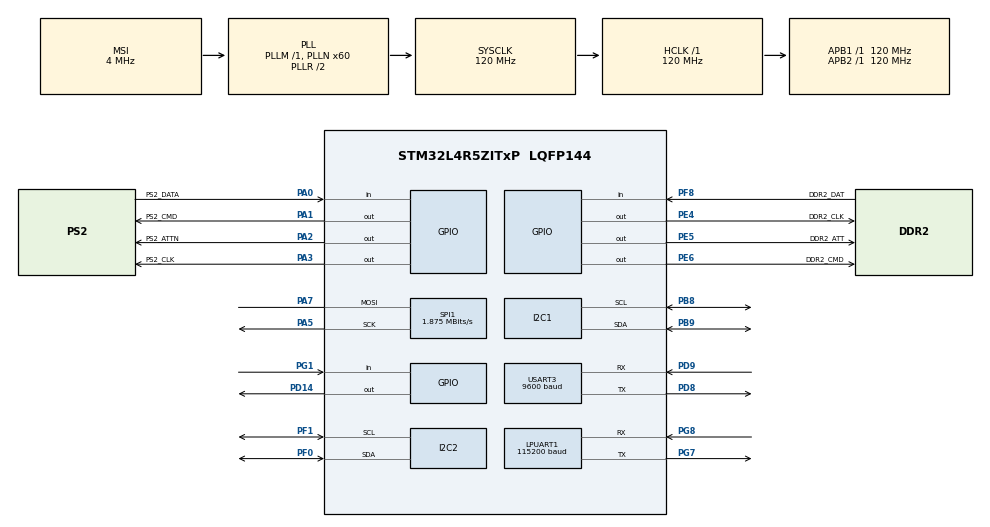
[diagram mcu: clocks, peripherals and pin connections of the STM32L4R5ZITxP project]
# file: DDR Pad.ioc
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I2C1.Timing=0x30A175AB
I2C2.Timing=0x30A175AB
LPUART1.BaudRate=115200
LPUART1.WordLength=UART_WORDLENGTH_8B
Mcu.Family=STM32L4
Mcu.Name=STM32L4R5ZITxP
Mcu.Package=LQFP144
NVIC.PriorityGroup=NVIC_PRIORITYGROUP_4
PA0.GPIO_Label=PS2_DATA
PA0.GPIO_PuPd=GPIO_PULLUP
PA0.Signal=GPIO_Input
PA1.GPIO_Label=PS2_CMD
PA1.GPIO_PuPd=GPIO_NOPULL
PA1.GPIO_Speed=GPIO_SPEED_FREQ_VERY_HIGH
PA1.PinState=GPIO_PIN_SET
PA1.Signal=GPIO_Output
PA10.Signal=USB_OTG_FS_ID
PA13\ (JTMS/SWDIO).Signal=SYS_JTMS-SWDIO
PA14\ (JTCK/SWCLK).Signal=SYS_JTCK-SWCLK
PA2.GPIO_Label=PS2_ATTN
PA2.GPIO_Speed=GPIO_SPEED_FREQ_VERY_HIGH
PA2.PinState=GPIO_PIN_SET
PA2.Signal=GPIO_Output
PA3.GPIO_Label=PS2_CLK
PA3.GPIO_Speed=GPIO_SPEED_FREQ_VERY_HIGH
PA3.PinState=GPIO_PIN_SET
PA3.Signal=GPIO_Output
PA4.Signal=SPI1_NSS
PA5.Mode=Simplex_Bidirectional_Master
PA5.Signal=SPI1_SCK
PA6.Signal=SPI1_MISO
PA7.Mode=Simplex_Bidirectional_Master
PA7.Signal=SPI1_MOSI
PA8.Signal=USB_OTG_FS_SOF
PA9.Signal=USB_OTG_FS_VBUS
PB0.Signal=S_TIM3_CH3
PB1.Signal=ADCx_IN16
PB10.Signal=S_TIM2_CH3
PB12.Signal=SAI2_FS_A
PB13.Signal=SAI2_SCK_A
PB14.Signal=S_TIM15_CH1
PB15.Signal=SAI2_SD_A
PB2.Signal=COMP1_INP
PB3\ (JTDO/TRACESWO).Signal=SPI3_SCK
PB4\ (NJTRST).Signal=SPI3_MISO
PB5.Signal=SPI3_MOSI
PB6.Signal=COMP2_INP
PB8.GPIO_Pu=GPIO_PULLUP
PB8.Mode=I2C
PB8.Signal=I2C1_SCL
PB9.GPIO_Pu=GPIO_PULLUP
PB9.Mode=I2C
PB9.Signal=I2C1_SDA
PC0.Signal=ADCx_IN1
PC1.Signal=ADCx_IN2
PC10.Signal=SDMMC1_D2
PC11.Signal=SDMMC1_D3
PC12.Signal=SDMMC1_CK
PC13.Signal=SYS_WKUP2
PC14-OSC32_IN\ (PC14).Signal=RCC_OSC32_IN
PC15-OSC32_OUT\ (PC15).Signal=RCC_OSC32_OUT
PC2.Signal=ADCx_IN3
PC3.Signal=ADCx_IN4
PC4.Signal=ADCx_IN13
PC5.Signal=ADCx_IN14
PC6.Signal=SAI2_MCLK_A
PC7.Signal=S_TIM3_CH2
PC8.Signal=SDMMC1_D0
PC9.Signal=SDMMC1_D1
PD0.Signal=CAN1_RX
PD14.Signal=GPIO_Output
PD15.Signal=S_TIM4_CH4
PD2.Signal=SDMMC1_CMD
PD3.Signal=USART2_CTS
PD4.Signal=USART2_RTS
PD5.Signal=USART2_TX
PD6.Signal=USART2_RX
PD8.Mode=Asynchronous
PD8.Signal=USART3_TX
PD9.Mode=Asynchronous
PD9.Signal=USART3_RX
PE0.Signal=S_TIM4_ETR
PE10.Signal=TIM1_CH2N
PE11.Signal=S_TIM1_CH2
PE12.Signal=TIM1_CH3N
PE13.Signal=S_TIM1_CH3
PE14.Signal=TIM1_BKIN2
PE15.Signal=TIM1_BKIN
PE2.Signal=SAI1_MCLK_A
PE3.Signal=SAI1_SD_B
PE4.GPIO_Label=DDR2_CLK
PE4.GPIO_PuPd=GPIO_NOPULL
PE4.GPIO_Speed=GPIO_SPEED_FREQ_HIGH
PE4.PinState=GPIO_PIN_SET
PE4.Signal=GPIO_Output
PE5.GPIO_Label=DDR2_ATT
PE5.GPIO_Speed=GPIO_SPEED_FREQ_HIGH
PE5.PinState=GPIO_PIN_SET
PE5.Signal=GPIO_Output
PE6.GPIO_Label=DDR2_CMD
PE6.GPIO_ModeDefaultOutputPP=GPIO_MODE_OUTPUT_PP
PE6.GPIO_Speed=GPIO_SPEED_FREQ_HIGH
PE6.PinState=GPIO_PIN_SET
PE6.Signal=GPIO_Output
PE7.Signal=S_TIM1_ETR
PE8.Signal=TIM1_CH1N
PE9.Signal=S_TIM1_CH1
PF0.Mode=I2C
PF0.Signal=I2C2_SDA
PF1.Mode=I2C
PF1.Signal=I2C2_SCL
PF2.Signal=I2C2_SMBA
PF7.Signal=SAI1_MCLK_B
PF8.GPIO_Label=DDR2_DAT
PF8.GPIO_PuPd=GPIO_PULLUP
PF8.Signal=GPIO_Input
PG1.GPIO_PuPd=GPIO_PULLUP
PG1.Signal=GPIO_Input
PG7.Mode=Asynchronous
PG7.Signal=LPUART1_TX
PG8.Mode=Asynchronous
PG8.Signal=LPUART1_RX
PH0-OSC_IN\ (PH0).Signal=RCC_OSC_IN
PH1-OSC_OUT\ (PH1).Signal=RCC_OSC_OUT
ProjectManager.HeapSize=0x200
ProjectManager.StackSize=0x400
ProjectManager.TargetToolchain=STM32CubeIDE
RCC.AHBFreq_Value=120000000
RCC.APB1Freq_Value=120000000
RCC.APB1TimFreq_Value=120000000
RCC.APB2Freq_Value=120000000
RCC.APB2TimFreq_Value=120000000
RCC.CortexFreq_Value=120000000
RCC.HCLKFreq_Value=120000000
RCC.HSE_VALUE=8000000
RCC.HSI48_VALUE=48000000
RCC.HSI_VALUE=16000000
RCC.LSE_VALUE=32768
RCC.MSI_VALUE=4000000
RCC.PLLN=60
RCC.SYSCLKFreq_VALUE=120000000
RCC.SYSCLKSource=RCC_SYSCLKSOURCE_PLLCLK
RCC.VCOOutputFreq_Value=240000000
SH.ADCx_IN1.0=ADC1_IN1
SH.ADCx_IN13.0=ADC1_IN13
SH.ADCx_IN14.0=ADC1_IN14
SH.ADCx_IN16.0=ADC1_IN16
SH.ADCx_IN2.0=ADC1_IN2
SH.ADCx_IN3.0=ADC1_IN3
SH.ADCx_IN4.0=ADC1_IN4
SH.S_TIM15_CH1.0=TIM15_CH1
SH.S_TIM1_CH1.0=TIM1_CH1
SH.S_TIM1_CH2.0=TIM1_CH2
SH.S_TIM1_CH3.0=TIM1_CH3
SH.S_TIM1_ETR.0=TIM1_ETR
SH.S_TIM2_CH3.0=TIM2_CH3
SH.S_TIM3_CH2.0=TIM3_CH2
SH.S_TIM3_CH3.0=TIM3_CH3
SH.S_TIM4_CH4.0=TIM4_CH4
SH.S_TIM4_ETR.0=TIM4_ETR
SPI1.BaudRatePrescaler=SPI_BAUDRATEPRESCALER_64
SPI1.CalculateBaudRate=1.875 MBits/s
SPI1.DataSize=SPI_DATASIZE_8BIT
SPI1.Direction=SPI_DIRECTION_1LINE
SPI1.Mode=SPI_MODE_MASTER
SPI1.VirtualType=VM_MASTER
USART3.BaudRate=9600
USART3.VirtualMode-Asynchronous=VM_ASYNC
board=NUCLEO-L4R5ZI-P

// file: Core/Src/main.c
/* USER CODE BEGIN Header */
/**
  ******************************************************************************
  * @file           : main.c
  * @brief          : Main program body
  ******************************************************************************
  * @attention
  *
  * Copyright (c) 2026 STMicroelectronics.
  * All rights reserved.
  *
  * This software is licensed under terms that can be found in the LICENSE file
  * in the root directory of this software component.
  * If no LICENSE file comes with this software, it is provided AS-IS.
  *
  ******************************************************************************
  */
/* USER CODE END Header */
#include "main.h"
/* USER CODE BEGIN Includes */
#include <stdio.h>
#include <stdlib.h>
#include <string.h>
#include <math.h>
#include <stdbool.h>
#include <stdint.h>

#include "lcd.h"
#include "lcd_touch_demo.h"
#include "game_types.h"
#include "collision.h"
#include "game_init.h"
#include "game_update.h"
#include "paddle_shuttle.h"
#include "scoring.h"
#include "spi.h"
#include "wii_nunchuk.h"
#include "ddr_pad.h"

/* USER CODE END Includes */

/* USER CODE BEGIN PD */
#define PS2_DATA_PIN  PS2_DATA_Pin
#define PS2_DATA_PORT PS2_DATA_GPIO_Port
#define PS2_CMD_PIN   PS2_CMD_Pin
#define PS2_CMD_PORT  PS2_CMD_GPIO_Port
#define PS2_ATTN_PIN  PS2_ATTN_Pin
#define PS2_ATTN_PORT PS2_ATTN_GPIO_Port
#define PS2_CLK_PIN   PS2_CLK_Pin
#define PS2_CLK_PORT  PS2_CLK_GPIO_Port

// Wii Nunchuk 的 I2C 7位地址是 0x52
// STM32 的 HAL 库要求左移 1 位 (8位地址)，所以 0x52 << 1 = 0xA4
//#define NUNCHUK_ADDR 0xA4
// 存储按键数据的数组
uint8_t ps2_data[6];
uint8_t player2_data[6];
/* USER CODE END PD */

I2C_HandleTypeDef hi2c1;
I2C_HandleTypeDef hi2c2;

UART_HandleTypeDef hlpuart1;
UART_HandleTypeDef huart3;

SPI_HandleTypeDef hspi1;

/* USER CODE BEGIN PV */
uint8_t nunchuk_data1[6]; // 存放读回来的 6 个字节
uint8_t nunchuk_data2[6]; // 存放读回来的 6 个字节
/* USER CODE END PV */

void SystemClock_Config(void);
static void MX_GPIO_Init(void);
static void MX_LPUART1_UART_Init(void);
static void MX_I2C1_Init(void);
static void MX_USART3_UART_Init(void);
static void MX_SPI1_Init(void);
static void MX_I2C2_Init(void);

/* USER CODE BEGIN 0 */

void MP3_Play_Folder_File(uint8_t folder, uint8_t file)
{
    uint8_t cmd[8] = {0x7E, 0xFF, 0x06, 0x0F, 0x00, folder, file, 0xEF};

    // 使用 USART3 发送这 8 个字节
    // 注意：如果你的串口不是 huart3，请把下面的 huart3 改成对应的名字 (如 huart4)
    HAL_UART_Transmit(&huart3, cmd, 8, HAL_MAX_DELAY);
}

void DWT_Init(void) {
    CoreDebug->DEMCR |= CoreDebug_DEMCR_TRCENA_Msk;
    DWT->CYCCNT = 0;
    DWT->CTRL |= DWT_CTRL_CYCCNTENA_Msk;
}

/* USER CODE END 0 */

#if 0
int main(void){
	/* 初始化完 GPIO/UART/I2C/SPI1 之后，再加 LCD */
	if (LCD_Board_InitRecommendedSPI3() != HAL_OK) {
	    Error_Handler();
	}

	/* 二选一：看你实际屏幕型号 */
	LCD_Board_FillST7789_240x240(&lcd);
	// LCD_Board_FillILI9341_240x320(&lcd);

	if (LCD_InitBus(&lcd) != HAL_OK) {
	    Error_Handler();
	}

	/* 二选一：跟上面的型号对应 */
	if (LCD_RunInitSequence(&lcd,
	                        LCD_ST7789_240x240_Init,
	                        LCD_ST7789_240x240_InitCount) != HAL_OK) {
	    Error_Handler();
	}

	/* 开背光 */
	LCD_SetBacklight(&lcd, GPIO_PIN_SET);

	/* 先整屏填个颜色测试 */
	if (LCD_FillColor565(&lcd, 0xF800) != HAL_OK) {   // 红色
	    Error_Handler();
	}
	HAL_Delay(500);

	LCD_FillColor565(&lcd, 0x07E0);   // 绿色
	HAL_Delay(500);

	LCD_FillColor565(&lcd, 0x001F);   // 蓝色
	HAL_Delay(500);

	LCD_FillColor565(&lcd, 0xFFFF);   // 白色

}
#endif

int main(void)
{
  HAL_Init();
  SystemClock_Config();

  MX_GPIO_Init();
  MX_LPUART1_UART_Init();
  MX_I2C1_Init();
  MX_USART3_UART_Init();
  MX_SPI1_Init();
  MX_I2C2_Init();

  if (LCD_Board_Init() != HAL_OK) {
      Error_Handler();
  }

  if (LCD_Touch_ColorDemo_Run() != HAL_OK) {
      Error_Handler();
  }
}
//int main(void)
//{
//
//  /* USER CODE BEGIN 1 */
//
//  /* USER CODE END 1 */
//
//  /* MCU Configuration--------------------------------------------------------*/
//
//  /* Reset of all peripherals, Initializes the Flash interface and the Systick. */
//
//  HAL_Init();
//
//  /* USER CODE BEGIN Init */
//
//  /* USER CODE END Init */
//
//  /* Configure the system clock */
//  SystemClock_Config();
//
//  /* USER CODE BEGIN SysInit */
//
//  /* USER CODE END SysInit */
//
//  /* Initialize all configured peripherals */
//  MX_GPIO_Init();
//  MX_LPUART1_UART_Init();
//  MX_I2C1_Init();
//  MX_USART3_UART_Init();
//  MX_SPI1_Init();
//  MX_I2C2_Init();
//  /* USER CODE BEGIN 2 */
//  DWT_Init();
//  nunchuk_init();       // 初始化 P1 手柄
//
//
//
//  // 用于保存上一个周期的 Z 轴数据，用来计算瞬间速度差
////  static uint16_t last_acc_z = 712; // 初始值给个大概就行，运行一次后就会自动同步
////
////  static int cooldown_timer = 0;
////
////  // 差值阈值：这决定了你需要多“猛”的发力才能触发。
////  // 因为差值过滤了重力，这个值通常可以设小一点，比如 40 ~ 80
////  const int SWING_THRESHOLD = 60;
////  const int COOLDOWN_CYCLES = 10;
//
//  GameContext ctx;
//  game_init(&ctx);
//
//  bool quit = false;
//
//
//  int i = 0;
//  /* Continuous keyboard state */
//  while (!quit) {
//	  /* ── Event pump ── */
//	  //SDL_Event ev;
//	  /* Reset single-tick swing flags before polling */
////	  MP3_Play_Folder_File(1, 2);
////	  HAL_Delay(5000);
//
//
//
//	  /* ── Fixed timestep tick (mirrors TIM3 16 ms interrupt) ── */
//	  //uint64_t now = SDL_GetTicks();
////	  if (now - last_tick >= TICK_MS) {
////		  last_tick = now;
//
//		  //printf("i : %d\n", i);
//	  if (i % 48 == 0){
//		  ctx.p1.swing = false;
//		  ctx.p2.swing = false;
//	  }
//
//
//	  process_nunchuk_p1(&ctx.p1);
//	  process_nunchuk_p2(&ctx.p2);
//
//
//	  process_Pad(&ctx.p1);
//	  process_Pad_P2(&ctx.p2);
//
//	  game_update(&ctx);
//
//	  i++;
//
//	  PlayerData p1_data = {.x = (uint16_t)ctx.p1.x, .y= (uint16_t)ctx.p1.y, .swing = ctx.p1.swing};
//	  PlayerData p2_data = {.x = (uint16_t)ctx.p2.x, .y = (uint16_t)ctx.p2.y, .swing = ctx.p2.swing};
//	  ShuttlecockData shuttle_data = {.x = (uint16_t)ctx.shuttle.x, .y = (uint16_t)ctx.shuttle.y};
//
////	  if (j % 30 == 0){
////		  ctx.p1.x = 40;
////	  }
////	  else{
////		  ctx.p1.x += 5;
////	  }
////	  j++;
//
//      SPI_SendGameState(p1_data, p2_data, shuttle_data);
//
////	  HAL_StatusTypeDef spi_status;
////	  uint8_t txData[4] = {0x44, 0xBB, 0xCC, 0xDD};
////	  HAL_GPIO_WritePin(GPIOD, GPIO_PIN_14, GPIO_PIN_RESET);
////	  spi_status = HAL_SPI_Transmit(&hspi1, txData, 4, HAL_MAX_DELAY);
////	  HAL_GPIO_WritePin(GPIOD, GPIO_PIN_14, GPIO_PIN_SET);
////		if (spi_status == HAL_OK) {
////
////				printf("SPI Tx OK!\r\n");
////			}
////			else {
////				printf("SPI Tx FAILED! Error code: %d\r\n", spi_status);
////
////
////
////
////
////	}
//	  /* ── Render ── */
//	  //render_game(g_renderer, &ctx, mouse_x, mouse_y);
//  }
//  /* USER CODE END 2 */
//
//  /* Infinite loop */
//  /* USER CODE BEGIN WHILE */
////   while (1) {
////
////	  MP3_Play_Folder_File(1, 1);
////	  HAL_Delay(5000);
////	  MP3_Play_Folder_File(1, 2);
////	  HAL_Delay(5000);
////
////     PS2_ReadPad();
////
////     // 逻辑解析：PS2 协议中 0 代表按下，1 代表松开
////     // 我们用取反 (!) 来让 1 代表按下，方便观察
////     uint8_t btn_data1 = ~ps2_data[0];
////
////     uint8_t up    = (btn_data1 >> 4) & 0x01;
////     uint8_t right = (btn_data1 >> 5) & 0x01;
////     uint8_t down  = (btn_data1 >> 6) & 0x01;
////     uint8_t left  = (btn_data1 >> 7) & 0x01;
////     uint8_t start = (btn_data1 >> 3) & 0x01;
////
////     // 调试打印 (如果你开了串口)
////      printf("U:%d D:%d L:%d R:%d ST:%d\r\n", up, down, left, right, start);
////
////     HAL_Delay(16); // 约 60Hz 的刷新率，足够跳舞机使用了
////
////
////
////
////
////
////
////
////
////     //Wii Start
////     Nunchuk_Read();
////
////             // 解析基础数据
////             uint16_t accel_z = (nunchuk_data[4] << 2) | ((nunchuk_data[5] >> 6) & 0x03);
////
////             // ---------------------------------------------------------
////             // 3. 动作识别 (瞬间速度差 Delta)
////             // ---------------------------------------------------------
////             // 计算当前时刻与上一个时刻的差值 (极其关键：这是动态加速度，去除了重力影响)
////             int16_t dz = accel_z - last_acc_z;
////             int16_t abs_dz = abs(dz);
////
////             if (cooldown_timer > 0) {
////                 cooldown_timer--;
////                 if (cooldown_timer == 0) {
////                     sprintf(current_action, "Still");
////                 }
////             }
////             else {
////                 // 只有瞬间的变化量极大，才认为是挥动
////                 if (abs_dz > SWING_THRESHOLD) {
////
////                     if (dz > SWING_THRESHOLD) {
////                         sprintf(current_action, "Moving up");
////                         cooldown_timer = COOLDOWN_CYCLES;
////                     }
////                     else if (dz < -SWING_THRESHOLD) {
////                         sprintf(current_action, "Moving down");
////                         cooldown_timer = COOLDOWN_CYCLES;
////                     }
////                 }
////             }
////
////             // 必须更新：把现在的状态变成“过去”，给下一次循环使用
////             last_acc_z = accel_z;
////
////             // 4. 打印输出
////             printf("dz:%5d | Action: %s \r\n", dz, current_action);
////
////             HAL_Delay(50);
////   }
//    /* USER CODE END WHILE */
//
//    /* USER CODE BEGIN 3 */
//
//  /* USER CODE END 3 */
//}

void SystemClock_Config(void)
{
  RCC_OscInitTypeDef RCC_OscInitStruct = {0};
  RCC_ClkInitTypeDef RCC_ClkInitStruct = {0};

  /** Configure the main internal regulator output voltage
  */
  if (HAL_PWREx_ControlVoltageScaling(PWR_REGULATOR_VOLTAGE_SCALE1_BOOST) != HAL_OK)
  {
    Error_Handler();
  }

  /** Initializes the RCC Oscillators according to the specified parameters
  * in the RCC_OscInitTypeDef structure.
  */
  RCC_OscInitStruct.OscillatorType = RCC_OSCILLATORTYPE_MSI;
  RCC_OscInitStruct.MSIState = RCC_MSI_ON;
  RCC_OscInitStruct.MSICalibrationValue = 0;
  RCC_OscInitStruct.MSIClockRange = RCC_MSIRANGE_6;
  RCC_OscInitStruct.PLL.PLLState = RCC_PLL_ON;
  RCC_OscInitStruct.PLL.PLLSource = RCC_PLLSOURCE_MSI;
  RCC_OscInitStruct.PLL.PLLM = 1;
  RCC_OscInitStruct.PLL.PLLN = 60;
  RCC_OscInitStruct.PLL.PLLP = RCC_PLLP_DIV2;
  RCC_OscInitStruct.PLL.PLLQ = RCC_PLLQ_DIV2;
  RCC_OscInitStruct.PLL.PLLR = RCC_PLLR_DIV2;
  if (HAL_RCC_OscConfig(&RCC_OscInitStruct) != HAL_OK)
  {
    Error_Handler();
  }

  /** Initializes the CPU, AHB and APB buses clocks
  */
  RCC_ClkInitStruct.ClockType = RCC_CLOCKTYPE_HCLK|RCC_CLOCKTYPE_SYSCLK
                              |RCC_CLOCKTYPE_PCLK1|RCC_CLOCKTYPE_PCLK2;
  RCC_ClkInitStruct.SYSCLKSource = RCC_SYSCLKSOURCE_PLLCLK;
  RCC_ClkInitStruct.AHBCLKDivider = RCC_SYSCLK_DIV1;
  RCC_ClkInitStruct.APB1CLKDivider = RCC_HCLK_DIV1;
  RCC_ClkInitStruct.APB2CLKDivider = RCC_HCLK_DIV1;

  if (HAL_RCC_ClockConfig(&RCC_ClkInitStruct, FLASH_LATENCY_5) != HAL_OK)
  {
    Error_Handler();
  }
}

static void MX_I2C1_Init(void)
{

  hi2c1.Instance = I2C1;
  hi2c1.Init.Timing = 0x30A175AB;
  hi2c1.Init.OwnAddress1 = 0;
  hi2c1.Init.AddressingMode = I2C_ADDRESSINGMODE_7BIT;
  hi2c1.Init.DualAddressMode = I2C_DUALADDRESS_DISABLE;
  hi2c1.Init.OwnAddress2 = 0;
  hi2c1.Init.OwnAddress2Masks = I2C_OA2_NOMASK;
  hi2c1.Init.GeneralCallMode = I2C_GENERALCALL_DISABLE;
  hi2c1.Init.NoStretchMode = I2C_NOSTRETCH_DISABLE;
  if (HAL_I2C_Init(&hi2c1) != HAL_OK)
  {
    Error_Handler();
  }

  /** Configure Analogue filter
  */
  if (HAL_I2CEx_ConfigAnalogFilter(&hi2c1, I2C_ANALOGFILTER_ENABLE) != HAL_OK)
  {
    Error_Handler();
  }

  /** Configure Digital filter
  */
  if (HAL_I2CEx_ConfigDigitalFilter(&hi2c1, 0) != HAL_OK)
  {
    Error_Handler();
  }
  /* USER CODE BEGIN I2C1_Init 2 */
  // 1. 初始化第二块跳舞毯的 DAT 引脚 (PF8 - 输入上拉)
  GPIO_InitTypeDef GPIO_InitStruct = {0};
  GPIO_InitStruct.Pin = GPIO_PIN_8;
  GPIO_InitStruct.Mode = GPIO_MODE_INPUT;
  GPIO_InitStruct.Pull = GPIO_PULLUP; // 极其重要：必须上拉
  HAL_GPIO_Init(GPIOF, &GPIO_InitStruct);

  // 2. 初始化第二块跳舞毯的 CLK, ATTN, CMD 引脚 (PE4, PE5, PE6 - 推挽输出)
  GPIO_InitStruct.Pin = GPIO_PIN_4 | GPIO_PIN_5 | GPIO_PIN_6;
  GPIO_InitStruct.Mode = GPIO_MODE_OUTPUT_PP;
  GPIO_InitStruct.Pull = GPIO_NOPULL;
  GPIO_InitStruct.Speed = GPIO_SPEED_FREQ_VERY_HIGH; // 速度拉满
  HAL_GPIO_Init(GPIOE, &GPIO_InitStruct);

  // 3. 默认把 ATTN (PE5) 和 CMD, CLK 拉高，处于空闲状态
  HAL_GPIO_WritePin(GPIOE, GPIO_PIN_4 | GPIO_PIN_5 | GPIO_PIN_6, GPIO_PIN_SET);

  /* USER CODE END I2C1_Init 2 */

}

static void MX_I2C2_Init(void)
{

  hi2c2.Instance = I2C2;
  hi2c2.Init.Timing = 0x30A175AB;
  hi2c2.Init.OwnAddress1 = 0;
  hi2c2.Init.AddressingMode = I2C_ADDRESSINGMODE_7BIT;
  hi2c2.Init.DualAddressMode = I2C_DUALADDRESS_DISABLE;
  hi2c2.Init.OwnAddress2 = 0;
  hi2c2.Init.OwnAddress2Masks = I2C_OA2_NOMASK;
  hi2c2.Init.GeneralCallMode = I2C_GENERALCALL_DISABLE;
  hi2c2.Init.NoStretchMode = I2C_NOSTRETCH_DISABLE;
  if (HAL_I2C_Init(&hi2c2) != HAL_OK)
  {
    Error_Handler();
  }

  /** Configure Analogue filter
  */
  if (HAL_I2CEx_ConfigAnalogFilter(&hi2c2, I2C_ANALOGFILTER_ENABLE) != HAL_OK)
  {
    Error_Handler();
  }

  /** Configure Digital filter
  */
  if (HAL_I2CEx_ConfigDigitalFilter(&hi2c2, 0) != HAL_OK)
  {
    Error_Handler();
  }

}

static void MX_LPUART1_UART_Init(void)
{

  hlpuart1.Instance = LPUART1;
  hlpuart1.Init.BaudRate = 115200;
  hlpuart1.Init.WordLength = UART_WORDLENGTH_8B;
  hlpuart1.Init.StopBits = UART_STOPBITS_1;
  hlpuart1.Init.Parity = UART_PARITY_NONE;
  hlpuart1.Init.Mode = UART_MODE_TX_RX;
  hlpuart1.Init.HwFlowCtl = UART_HWCONTROL_NONE;
  hlpuart1.Init.OneBitSampling = UART_ONE_BIT_SAMPLE_DISABLE;
  hlpuart1.Init.ClockPrescaler = UART_PRESCALER_DIV1;
  hlpuart1.AdvancedInit.AdvFeatureInit = UART_ADVFEATURE_NO_INIT;
  hlpuart1.FifoMode = UART_FIFOMODE_DISABLE;
  if (HAL_UART_Init(&hlpuart1) != HAL_OK)
  {
    Error_Handler();
  }
  if (HAL_UARTEx_SetTxFifoThreshold(&hlpuart1, UART_TXFIFO_THRESHOLD_1_8) != HAL_OK)
  {
    Error_Handler();
  }
  if (HAL_UARTEx_SetRxFifoThreshold(&hlpuart1, UART_RXFIFO_THRESHOLD_1_8) != HAL_OK)
  {
    Error_Handler();
  }
  if (HAL_UARTEx_DisableFifoMode(&hlpuart1) != HAL_OK)
  {
    Error_Handler();
  }

}

static void MX_USART3_UART_Init(void)
{

  huart3.Instance = USART3;
  huart3.Init.BaudRate = 9600;
  huart3.Init.WordLength = UART_WORDLENGTH_8B;
  huart3.Init.StopBits = UART_STOPBITS_1;
  huart3.Init.Parity = UART_PARITY_NONE;
  huart3.Init.Mode = UART_MODE_TX_RX;
  huart3.Init.HwFlowCtl = UART_HWCONTROL_NONE;
  huart3.Init.OverSampling = UART_OVERSAMPLING_16;
  huart3.Init.OneBitSampling = UART_ONE_BIT_SAMPLE_DISABLE;
  huart3.Init.ClockPrescaler = UART_PRESCALER_DIV1;
  huart3.AdvancedInit.AdvFeatureInit = UART_ADVFEATURE_NO_INIT;
  if (HAL_UART_Init(&huart3) != HAL_OK)
  {
    Error_Handler();
  }
  if (HAL_UARTEx_SetTxFifoThreshold(&huart3, UART_TXFIFO_THRESHOLD_1_8) != HAL_OK)
  {
    Error_Handler();
  }
  if (HAL_UARTEx_SetRxFifoThreshold(&huart3, UART_RXFIFO_THRESHOLD_1_8) != HAL_OK)
  {
    Error_Handler();
  }
  if (HAL_UARTEx_DisableFifoMode(&huart3) != HAL_OK)
  {
    Error_Handler();
  }

}

static void MX_SPI1_Init(void)
{

  /* SPI1 parameter configuration*/
  hspi1.Instance = SPI1;
  hspi1.Init.Mode = SPI_MODE_MASTER;
  hspi1.Init.Direction = SPI_DIRECTION_1LINE;
  hspi1.Init.DataSize = SPI_DATASIZE_8BIT;
  hspi1.Init.CLKPolarity = SPI_POLARITY_LOW;
  hspi1.Init.CLKPhase = SPI_PHASE_1EDGE;
  hspi1.Init.NSS = SPI_NSS_SOFT;
  hspi1.Init.BaudRatePrescaler = SPI_BAUDRATEPRESCALER_64;
  hspi1.Init.FirstBit = SPI_FIRSTBIT_MSB;
  hspi1.Init.TIMode = SPI_TIMODE_DISABLE;
  hspi1.Init.CRCCalculation = SPI_CRCCALCULATION_DISABLE;
  hspi1.Init.CRCPolynomial = 7;
  hspi1.Init.CRCLength = SPI_CRC_LENGTH_DATASIZE;
  hspi1.Init.NSSPMode = SPI_NSS_PULSE_ENABLE;
  if (HAL_SPI_Init(&hspi1) != HAL_OK)
  {
    Error_Handler();
  }

}

static void MX_GPIO_Init(void)
{
  GPIO_InitTypeDef GPIO_InitStruct = {0};

  /* GPIO Ports Clock Enable */
  __HAL_RCC_GPIOE_CLK_ENABLE();
  __HAL_RCC_GPIOC_CLK_ENABLE();
  __HAL_RCC_GPIOF_CLK_ENABLE();
  __HAL_RCC_GPIOH_CLK_ENABLE();
  __HAL_RCC_GPIOA_CLK_ENABLE();
  __HAL_RCC_GPIOB_CLK_ENABLE();
  __HAL_RCC_GPIOG_CLK_ENABLE();
  __HAL_RCC_GPIOD_CLK_ENABLE();
  HAL_PWREx_EnableVddIO2();

  /*Configure GPIO pin Output Level */
  HAL_GPIO_WritePin(GPIOE, DDR2_CLK_Pin|DDR2_ATT_Pin|DDR2_CMD_Pin, GPIO_PIN_SET);

  /*Configure GPIO pin Output Level */
  HAL_GPIO_WritePin(GPIOA, PS2_CMD_Pin|PS2_ATTN_Pin|PS2_CLK_Pin, GPIO_PIN_SET);

  /*Configure GPIO pin Output Level */
  HAL_GPIO_WritePin(GPIOD, GPIO_PIN_14, GPIO_PIN_RESET);

  /*Configure GPIO pins : PE2 PE3 */
  GPIO_InitStruct.Pin = GPIO_PIN_2|GPIO_PIN_3;
  GPIO_InitStruct.Mode = GPIO_MODE_AF_PP;
  GPIO_InitStruct.Pull = GPIO_NOPULL;
  GPIO_InitStruct.Speed = GPIO_SPEED_FREQ_LOW;
  GPIO_InitStruct.Alternate = GPIO_AF13_SAI1;
  HAL_GPIO_Init(GPIOE, &GPIO_InitStruct);

  /*Configure GPIO pins : DDR2_CLK_Pin DDR2_ATT_Pin DDR2_CMD_Pin */
  GPIO_InitStruct.Pin = DDR2_CLK_Pin|DDR2_ATT_Pin|DDR2_CMD_Pin;
  GPIO_InitStruct.Mode = GPIO_MODE_OUTPUT_PP;
  GPIO_InitStruct.Pull = GPIO_NOPULL;
  GPIO_InitStruct.Speed = GPIO_SPEED_FREQ_HIGH;
  HAL_GPIO_Init(GPIOE, &GPIO_InitStruct);

  /*Configure GPIO pin : PF7 */
  GPIO_InitStruct.Pin = GPIO_PIN_7;
  GPIO_InitStruct.Mode = GPIO_MODE_AF_PP;
  GPIO_InitStruct.Pull = GPIO_NOPULL;
  GPIO_InitStruct.Speed = GPIO_SPEED_FREQ_LOW;
  GPIO_InitStruct.Alternate = GPIO_AF13_SAI1;
  HAL_GPIO_Init(GPIOF, &GPIO_InitStruct);

  /*Configure GPIO pin : DDR2_DAT_Pin */
  GPIO_InitStruct.Pin = DDR2_DAT_Pin;
  GPIO_InitStruct.Mode = GPIO_MODE_INPUT;
  GPIO_InitStruct.Pull = GPIO_PULLUP;
  HAL_GPIO_Init(DDR2_DAT_GPIO_Port, &GPIO_InitStruct);

  /*Configure GPIO pins : PC0 PC1 PC2 PC3
                           PC4 PC5 */
  GPIO_InitStruct.Pin = GPIO_PIN_0|GPIO_PIN_1|GPIO_PIN_2|GPIO_PIN_3
                          |GPIO_PIN_4|GPIO_PIN_5;
  GPIO_InitStruct.Mode = GPIO_MODE_ANALOG_ADC_CONTROL;
  GPIO_InitStruct.Pull = GPIO_NOPULL;
  HAL_GPIO_Init(GPIOC, &GPIO_InitStruct);

  /*Configure GPIO pin : PS2_DATA_Pin */
  GPIO_InitStruct.Pin = PS2_DATA_Pin;
  GPIO_InitStruct.Mode = GPIO_MODE_INPUT;
  GPIO_InitStruct.Pull = GPIO_PULLUP;
  HAL_GPIO_Init(PS2_DATA_GPIO_Port, &GPIO_InitStruct);

  /*Configure GPIO pins : PS2_CMD_Pin PS2_ATTN_Pin PS2_CLK_Pin */
  GPIO_InitStruct.Pin = PS2_CMD_Pin|PS2_ATTN_Pin|PS2_CLK_Pin;
  GPIO_InitStruct.Mode = GPIO_MODE_OUTPUT_PP;
  GPIO_InitStruct.Pull = GPIO_NOPULL;
  GPIO_InitStruct.Speed = GPIO_SPEED_FREQ_VERY_HIGH;
  HAL_GPIO_Init(GPIOA, &GPIO_InitStruct);

  /*Configure GPIO pin : PB0 */
  GPIO_InitStruct.Pin = GPIO_PIN_0;
  GPIO_InitStruct.Mode = GPIO_MODE_AF_PP;
  GPIO_InitStruct.Pull = GPIO_NOPULL;
  GPIO_InitStruct.Speed = GPIO_SPEED_FREQ_LOW;
  GPIO_InitStruct.Alternate = GPIO_AF2_TIM3;
  HAL_GPIO_Init(GPIOB, &GPIO_InitStruct);

  /*Configure GPIO pin : PB1 */
  GPIO_InitStruct.Pin = GPIO_PIN_1;
  GPIO_InitStruct.Mode = GPIO_MODE_ANALOG_ADC_CONTROL;
  GPIO_InitStruct.Pull = GPIO_NOPULL;
  HAL_GPIO_Init(GPIOB, &GPIO_InitStruct);

  /*Configure GPIO pins : PB2 PB6 */
  GPIO_InitStruct.Pin = GPIO_PIN_2|GPIO_PIN_6;
  GPIO_InitStruct.Mode = GPIO_MODE_ANALOG;
  GPIO_InitStruct.Pull = GPIO_NOPULL;
  HAL_GPIO_Init(GPIOB, &GPIO_InitStruct);

  /*Configure GPIO pin : PG1 */
  GPIO_InitStruct.Pin = GPIO_PIN_1;
  GPIO_InitStruct.Mode = GPIO_MODE_INPUT;
  GPIO_InitStruct.Pull = GPIO_PULLUP;
  HAL_GPIO_Init(GPIOG, &GPIO_InitStruct);

  /*Configure GPIO pins : PE7 PE8 PE9 PE10
                           PE11 PE12 PE13 */
  GPIO_InitStruct.Pin = GPIO_PIN_7|GPIO_PIN_8|GPIO_PIN_9|GPIO_PIN_10
                          |GPIO_PIN_11|GPIO_PIN_12|GPIO_PIN_13;
  GPIO_InitStruct.Mode = GPIO_MODE_AF_PP;
  GPIO_InitStruct.Pull = GPIO_NOPULL;
  GPIO_InitStruct.Speed = GPIO_SPEED_FREQ_LOW;
  GPIO_InitStruct.Alternate = GPIO_AF1_TIM1;
  HAL_GPIO_Init(GPIOE, &GPIO_InitStruct);

  /*Configure GPIO pins : PE14 PE15 */
  GPIO_InitStruct.Pin = GPIO_PIN_14|GPIO_PIN_15;
  GPIO_InitStruct.Mode = GPIO_MODE_AF_PP;
  GPIO_InitStruct.Pull = GPIO_NOPULL;
  GPIO_InitStruct.Speed = GPIO_SPEED_FREQ_LOW;
  GPIO_InitStruct.Alternate = GPIO_AF3_TIM1_COMP1;
  HAL_GPIO_Init(GPIOE, &GPIO_InitStruct);

  /*Configure GPIO pin : PB10 */
  GPIO_InitStruct.Pin = GPIO_PIN_10;
  GPIO_InitStruct.Mode = GPIO_MODE_AF_PP;
  GPIO_InitStruct.Pull = GPIO_NOPULL;
  GPIO_InitStruct.Speed = GPIO_SPEED_FREQ_LOW;
  GPIO_InitStruct.Alternate = GPIO_AF1_TIM2;
  HAL_GPIO_Init(GPIOB, &GPIO_InitStruct);

  /*Configure GPIO pins : PB12 PB13 PB15 */
  GPIO_InitStruct.Pin = GPIO_PIN_12|GPIO_PIN_13|GPIO_PIN_15;
  GPIO_InitStruct.Mode = GPIO_MODE_AF_PP;
  GPIO_InitStruct.Pull = GPIO_NOPULL;
  GPIO_InitStruct.Speed = GPIO_SPEED_FREQ_LOW;
  GPIO_InitStruct.Alternate = GPIO_AF13_SAI2;
  HAL_GPIO_Init(GPIOB, &GPIO_InitStruct);

  /*Configure GPIO pin : PB14 */
  GPIO_InitStruct.Pin = GPIO_PIN_14;
  GPIO_InitStruct.Mode = GPIO_MODE_AF_PP;
  GPIO_InitStruct.Pull = GPIO_NOPULL;
  GPIO_InitStruct.Speed = GPIO_SPEED_FREQ_LOW;
  GPIO_InitStruct.Alternate = GPIO_AF14_TIM15;
  HAL_GPIO_Init(GPIOB, &GPIO_InitStruct);

  /*Configure GPIO pin : PD14 */
  GPIO_InitStruct.Pin = GPIO_PIN_14;
  GPIO_InitStruct.Mode = GPIO_MODE_OUTPUT_PP;
  GPIO_InitStruct.Pull = GPIO_NOPULL;
  GPIO_InitStruct.Speed = GPIO_SPEED_FREQ_LOW;
  HAL_GPIO_Init(GPIOD, &GPIO_InitStruct);

  /*Configure GPIO pin : PD15 */
  GPIO_InitStruct.Pin = GPIO_PIN_15;
  GPIO_InitStruct.Mode = GPIO_MODE_AF_PP;
  GPIO_InitStruct.Pull = GPIO_NOPULL;
  GPIO_InitStruct.Speed = GPIO_SPEED_FREQ_LOW;
  GPIO_InitStruct.Alternate = GPIO_AF2_TIM4;
  HAL_GPIO_Init(GPIOD, &GPIO_InitStruct);

  /*Configure GPIO pin : PC6 */
  GPIO_InitStruct.Pin = GPIO_PIN_6;
  GPIO_InitStruct.Mode = GPIO_MODE_AF_PP;
  GPIO_InitStruct.Pull = GPIO_NOPULL;
  GPIO_InitStruct.Speed = GPIO_SPEED_FREQ_LOW;
  GPIO_InitStruct.Alternate = GPIO_AF13_SAI2;
  HAL_GPIO_Init(GPIOC, &GPIO_InitStruct);

  /*Configure GPIO pin : PC7 */
  GPIO_InitStruct.Pin = GPIO_PIN_7;
  GPIO_InitStruct.Mode = GPIO_MODE_AF_PP;
  GPIO_InitStruct.Pull = GPIO_NOPULL;
  GPIO_InitStruct.Speed = GPIO_SPEED_FREQ_LOW;
  GPIO_InitStruct.Alternate = GPIO_AF2_TIM3;
  HAL_GPIO_Init(GPIOC, &GPIO_InitStruct);

  /*Configure GPIO pins : PC8 PC9 PC10 PC11
                           PC12 */
  GPIO_InitStruct.Pin = GPIO_PIN_8|GPIO_PIN_9|GPIO_PIN_10|GPIO_PIN_11
                          |GPIO_PIN_12;
  GPIO_InitStruct.Mode = GPIO_MODE_AF_PP;
  GPIO_InitStruct.Pull = GPIO_NOPULL;
  GPIO_InitStruct.Speed = GPIO_SPEED_FREQ_VERY_HIGH;
  GPIO_InitStruct.Alternate = GPIO_AF12_SDMMC1;
  HAL_GPIO_Init(GPIOC, &GPIO_InitStruct);

  /*Configure GPIO pins : PA8 PA10 */
  GPIO_InitStruct.Pin = GPIO_PIN_8|GPIO_PIN_10;
  GPIO_InitStruct.Mode = GPIO_MODE_AF_PP;
  GPIO_InitStruct.Pull = GPIO_NOPULL;
  GPIO_InitStruct.Speed = GPIO_SPEED_FREQ_VERY_HIGH;
  GPIO_InitStruct.Alternate = GPIO_AF10_OTG_FS;
  HAL_GPIO_Init(GPIOA, &GPIO_InitStruct);

  /*Configure GPIO pin : PA9 */
  GPIO_InitStruct.Pin = GPIO_PIN_9;
  GPIO_InitStruct.Mode = GPIO_MODE_INPUT;
  GPIO_InitStruct.Pull = GPIO_NOPULL;
  HAL_GPIO_Init(GPIOA, &GPIO_InitStruct);

  /*Configure GPIO pin : PD0 */
  GPIO_InitStruct.Pin = GPIO_PIN_0;
  GPIO_InitStruct.Mode = GPIO_MODE_AF_PP;
  GPIO_InitStruct.Pull = GPIO_NOPULL;
  GPIO_InitStruct.Speed = GPIO_SPEED_FREQ_VERY_HIGH;
  GPIO_InitStruct.Alternate = GPIO_AF9_CAN1;
  HAL_GPIO_Init(GPIOD, &GPIO_InitStruct);

  /*Configure GPIO pin : PD2 */
  GPIO_InitStruct.Pin = GPIO_PIN_2;
  GPIO_InitStruct.Mode = GPIO_MODE_AF_PP;
  GPIO_InitStruct.Pull = GPIO_NOPULL;
  GPIO_InitStruct.Speed = GPIO_SPEED_FREQ_VERY_HIGH;
  GPIO_InitStruct.Alternate = GPIO_AF12_SDMMC1;
  HAL_GPIO_Init(GPIOD, &GPIO_InitStruct);

  /*Configure GPIO pins : PD3 PD4 PD5 PD6 */
  GPIO_InitStruct.Pin = GPIO_PIN_3|GPIO_PIN_4|GPIO_PIN_5|GPIO_PIN_6;
  GPIO_InitStruct.Mode = GPIO_MODE_AF_PP;
  GPIO_InitStruct.Pull = GPIO_NOPULL;
  GPIO_InitStruct.Speed = GPIO_SPEED_FREQ_VERY_HIGH;
  GPIO_InitStruct.Alternate = GPIO_AF7_USART2;
  HAL_GPIO_Init(GPIOD, &GPIO_InitStruct);

  /*Configure GPIO pins : PB3 PB4 PB5 */
  GPIO_InitStruct.Pin = GPIO_PIN_3|GPIO_PIN_4|GPIO_PIN_5;
  GPIO_InitStruct.Mode = GPIO_MODE_AF_PP;
  GPIO_InitStruct.Pull = GPIO_NOPULL;
  GPIO_InitStruct.Speed = GPIO_SPEED_FREQ_VERY_HIGH;
  GPIO_InitStruct.Alternate = GPIO_AF6_SPI3;
  HAL_GPIO_Init(GPIOB, &GPIO_InitStruct);

  /*Configure GPIO pin : PE0 */
  GPIO_InitStruct.Pin = GPIO_PIN_0;
  GPIO_InitStruct.Mode = GPIO_MODE_AF_PP;
  GPIO_InitStruct.Pull = GPIO_NOPULL;
  GPIO_InitStruct.Speed = GPIO_SPEED_FREQ_LOW;
  GPIO_InitStruct.Alternate = GPIO_AF2_TIM4;
  HAL_GPIO_Init(GPIOE, &GPIO_InitStruct);

}

/* USER CODE BEGIN 4 */

#ifdef __GNUC__
#define PUTCHAR_PROTOTYPE int __io_putchar(int ch)
#else
  #define PUTCHAR_PROTOTYPE int fputc(int ch, FILE *f)
#endif /* __GNUC__ */
PUTCHAR_PROTOTYPE
{
  HAL_UART_Transmit(&hlpuart1, (uint8_t *)&ch, 1, 0xFFFF);
  return ch;
}

/* USER CODE END 4 */

void Error_Handler(void)
{
  __disable_irq();
  while (1)
  {
  }
}
